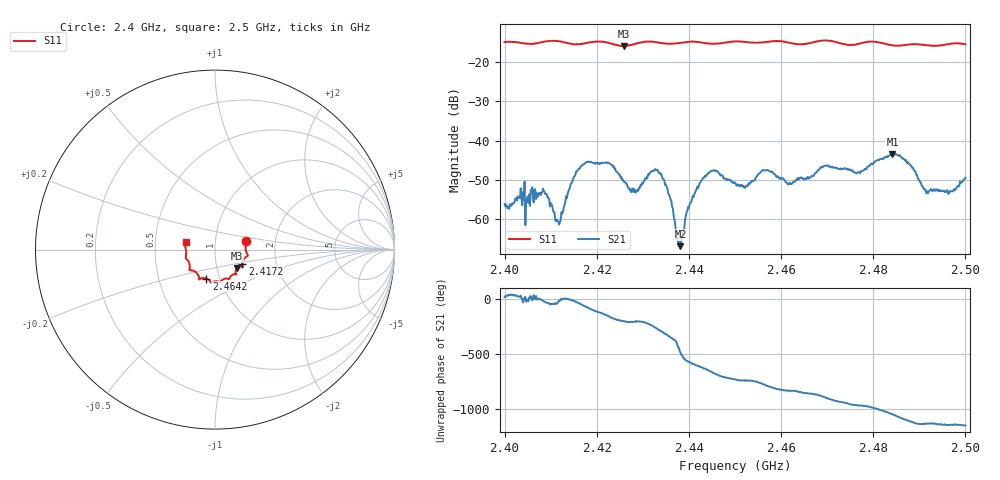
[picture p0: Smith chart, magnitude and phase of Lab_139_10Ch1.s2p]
# Hz S RI R 50
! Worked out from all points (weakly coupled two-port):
!   601 points, 2.4 GHz to 2.5 GHz, reference 50 ohm
!   highest |S21| = -43.33 dB at 2.4842 GHz (marker M1); lowest = -66.8 dB at 2.4382 GHz (marker M2)
!   lowest |S11| = -15.9 dB at 2.4258 GHz (marker M3), VSWR 1.38, Z = 62.3 - j13.2 ohm
!   |S11| at or under -10 dB: start of sweep to end of sweep
!   S12 and S22 are empty: the file has one direction only
!   S11 on the Smith chart (normalised r, x): 2.4 GHz: 1.41, +0.14; 2.4172 GHz: 1.34, -0.22; 2.4642 GHz: 0.86, -0.29; 2.5 GHz: 0.72, +0.06
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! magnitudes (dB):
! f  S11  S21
! 2.4 GHz  -14.9  -56.0
! 2.4085 GHz  -14.8  -52.8
! 2.4117 GHz  -14.7  -60.6
! 2.4167 GHz  -15.4  -46.5
! 2.4172 GHz  -15.3  -46.0
! 2.4227 GHz  -15.1  -45.7
! 2.4258 GHz  -15.9  -50.4
! 2.4285 GHz  -15.3  -53.2
! 2.4333 GHz  -15.0  -47.7
! 2.4357 GHz  -15.3  -53.7
! 2.4377 GHz  -15.2  -65.9
! 2.4382 GHz  -15.1  -66.8
! 2.4398 GHz  -14.8  -56.8
! 2.4433 GHz  -15.1  -49.3
! 2.45 GHz  -14.7  -50.6
! 2.4565 GHz  -14.9  -47.6
! 2.4642 GHz  -15.5  -49.5
! 2.4667 GHz  -15.0  -48.9
! 2.4833 GHz  -15.6  -43.9
! 2.4842 GHz  -15.7  -43.3
! 2.4915 GHz  -15.7  -53.3
! 2.5 GHz  -15.5  -49.4
